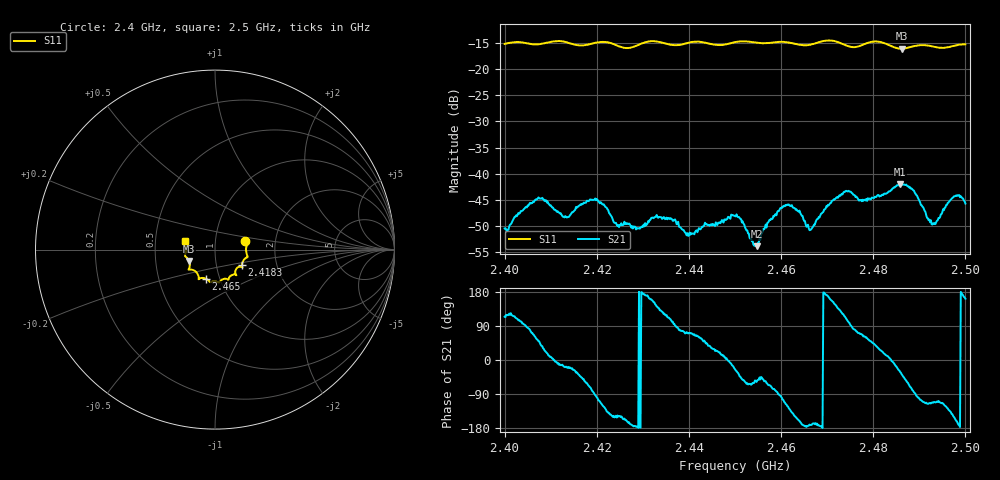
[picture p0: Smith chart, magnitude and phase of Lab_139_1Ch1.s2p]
# Hz S RI R 50
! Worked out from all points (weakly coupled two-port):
!   601 points, 2.4 GHz to 2.5 GHz, reference 50 ohm
!   highest |S21| = -42.07 dB at 2.4858 GHz (marker M1); lowest = -53.9 dB at 2.4547 GHz (marker M2)
!   lowest |S11| = -16.1 dB at 2.4862 GHz (marker M3), VSWR 1.37, Z = 37.2 - j4.81 ohm
!   |S11| at or under -10 dB: start of sweep to end of sweep
!   S12 and S22 are empty: the file has one direction only
!   S11 on the Smith chart (normalised r, x): 2.4 GHz: 1.40, +0.14; 2.4183 GHz: 1.33, -0.24; 2.465 GHz: 0.86, -0.28; 2.5 GHz: 0.71, +0.07
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2.4e9  0.1687 0.047  -0.00123 0.00272  0 0  0 0
2.407333e9  0.1732 -0.00767  0.00381 0.00453  0 0  0 0
2.413167e9  0.1776 -0.0434  0.00371 -0.00127  0 0  0 0
2.416667e9  0.1547 -0.0683  0.00348 -0.00364  0 0  0 0
2.418333e9  0.1502 -0.0869  0.00198 -0.00513  0 0  0 0
2.424667e9  0.1371 -0.0951  -0.00276 -0.00165  0 0  0 0
2.433333e9  0.1174 -0.1409  -0.00277 0.00256  0 0  0 0
2.44e9  0.0761 -0.1629  0.00082 0.00241  0 0  0 0
2.45e9  0.0261 -0.18  0.00356 -0.00163  0 0  0 0
2.454667e9  0.0102 -0.1795  0.00108 -0.00171  0 0  0 0
2.460833e9  -0.0288 -0.1803  -0.00185 -0.00451  0 0  0 0
2.465e9  -0.0525 -0.1616  -0.0035 -0.00041  0 0  0 0
2.466667e9  -0.0713 -0.1577  -0.00295 -0.000476  0 0  0 0
2.474e9  -0.0943 -0.1417  -0.00252 0.00633  0 0  0 0
2.477333e9  -0.1252 -0.1127  0.00199 0.0052  0 0  0 0
2.483333e9  -0.1413 -0.0966  0.00668 0.000888  0 0  0 0
2.485833e9  -0.1423 -0.0671  0.00672 -0.00411  0 0  0 0
2.486167e9  -0.1438 -0.0631  0.00615 -0.00475  0 0  0 0
2.488833e9  -0.1613 -0.0413  0.000574 -0.00685  0 0  0 0
2.493167e9  -0.1634 -0.0186  -0.00117 -0.00307  0 0  0 0
2.4975e9  -0.1648 0.0311  -0.00528 -0.00299  0 0  0 0
2.5e9  -0.1667 0.0466  -0.00492 0.00162  0 0  0 0
